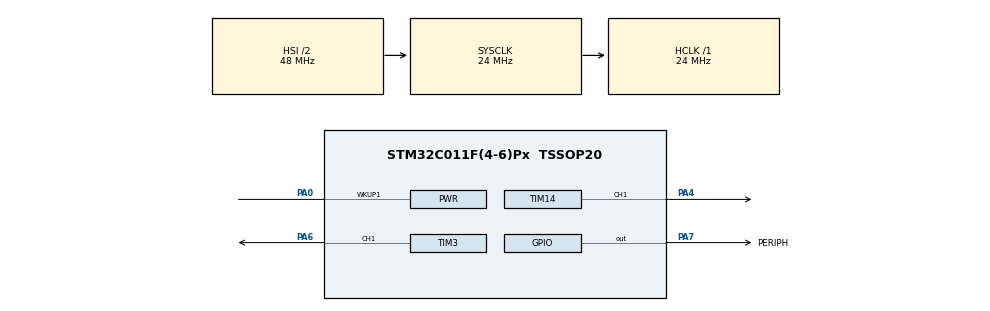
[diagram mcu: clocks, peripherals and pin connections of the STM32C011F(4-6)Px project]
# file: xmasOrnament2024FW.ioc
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Dma.Request0=TIM3_CH1
Dma.TIM3_CH1.0.Direction=DMA_MEMORY_TO_PERIPH
Dma.TIM3_CH1.0.EventEnable=DISABLE
Dma.TIM3_CH1.0.Instance=DMA1_Channel1
Dma.TIM3_CH1.0.MemDataAlignment=DMA_MDATAALIGN_HALFWORD
Dma.TIM3_CH1.0.MemInc=DMA_MINC_ENABLE
Dma.TIM3_CH1.0.Mode=DMA_NORMAL
Dma.TIM3_CH1.0.PeriphDataAlignment=DMA_PDATAALIGN_HALFWORD
Dma.TIM3_CH1.0.PeriphInc=DMA_PINC_DISABLE
Dma.TIM3_CH1.0.Polarity=HAL_DMAMUX_REQ_GEN_RISING
Dma.TIM3_CH1.0.Priority=DMA_PRIORITY_VERY_HIGH
Dma.TIM3_CH1.0.RequestNumber=1
Dma.TIM3_CH1.0.SignalID=NONE
Dma.TIM3_CH1.0.SyncEnable=DISABLE
Dma.TIM3_CH1.0.SyncPolarity=HAL_DMAMUX_SYNC_NO_EVENT
Dma.TIM3_CH1.0.SyncRequestNumber=1
Dma.TIM3_CH1.0.SyncSignalID=NONE
Mcu.Family=STM32C0
Mcu.Name=STM32C011F(4-6)Px
Mcu.Package=TSSOP20
NVIC.DMA1_Channel1_IRQn=true\:0\:0\:false\:false\:true\:false\:true\:true
PA0.Mode=WakeUp1
PA0.Signal=PWR_WKUP1
PA13.Mode=Serial_Wire
PA13.Signal=DEBUG_SWDIO
PA14-BOOT0.Mode=Serial_Wire
PA14-BOOT0.Signal=DEBUG_SWCLK
PA4.Signal=S_TIM14_CH1
PA6.GPIO_Speed=GPIO_SPEED_FREQ_VERY_HIGH
PA6.Signal=S_TIM3_CH1
PA7.GPIO_Label=PERIPH
PA7.GPIO_ModeDefaultOutputPP=GPIO_MODE_OUTPUT_OD
PA7.GPIO_PuPd=GPIO_PULLUP
PA7.PinState=GPIO_PIN_SET
PA7.Signal=GPIO_Output
ProjectManager.HeapSize=0x200
ProjectManager.StackSize=0x400
ProjectManager.TargetToolchain=STM32CubeIDE
RCC.ADCFreq_Value=24000000
RCC.AHBFreq_Value=24000000
RCC.CortexFreq_Value=24000000
RCC.EXTERNAL_CLOCK_VALUE=12288000
RCC.HCLKFreq_Value=24000000
RCC.HSE_VALUE=8000000
RCC.HSISYSCLKDivider=RCC_HSI_DIV2
RCC.HSI_VALUE=48000000
RCC.LSE_VALUE=32768
RCC.SYSCLKFreq_VALUE=24000000
SH.S_TIM14_CH1.0=TIM14_CH1,PWM Generation1 CH1
SH.S_TIM3_CH1.0=TIM3_CH1,PWM Generation1 CH1
TIM14.Channel=TIM_CHANNEL_1
TIM14.Period=100
TIM14.Prescaler=1200
TIM3.Channel-PWM\ Generation1\ CH1=TIM_CHANNEL_1
TIM3.Period=9
TIM3.Prescaler=2
VP_TIM14_VS_ClockSourceINT.Mode=Enable_Timer
VP_TIM3_VS_ClockSourceINT.Mode=Internal
board=custom

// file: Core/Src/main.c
/* USER CODE BEGIN Header */
/**
  ******************************************************************************
  * @file           : main.c
  * @brief          : Main program body
  ******************************************************************************
  * @attention
  *
  * Copyright (c) 2024 STMicroelectronics.
  * All rights reserved.
  *
  * This software is licensed under terms that can be found in the LICENSE file
  * in the root directory of this software component.
  * If no LICENSE file comes with this software, it is provided AS-IS.
  *
  ******************************************************************************
  */
/* USER CODE END Header */
#include "main.h"

/* USER CODE BEGIN Includes */
#include "WS2812.h"
#include "Buzzer.h"
/* USER CODE END Includes */

TIM_HandleTypeDef htim3;
TIM_HandleTypeDef htim14;
DMA_HandleTypeDef hdma_tim3_ch1;

void SystemClock_Config(void);
static void MX_GPIO_Init(void);
static void MX_DMA_Init(void);
static void MX_TIM3_Init(void);
static void MX_TIM14_Init(void);
/* USER CODE BEGIN PFP */
void tone(TIM_HandleTypeDef *_htim, uint32_t _freq, uint32_t _durMs);
/* USER CODE END PFP */

int main(void)
{

  /* MCU Configuration--------------------------------------------------------*/

  /* Reset of all peripherals, Initializes the Flash interface and the Systick. */
  HAL_Init();

  /* Configure the system clock */
  SystemClock_Config();

  /* Initialize all configured peripherals */
  MX_GPIO_Init();
  MX_DMA_Init();
  MX_TIM3_Init();
  MX_TIM14_Init();
  /* USER CODE BEGIN 2 */

  HAL_GPIO_WritePin(PERIPH_GPIO_Port, PERIPH_Pin, GPIO_PIN_RESET);
  HAL_Delay(100ULL);

  buzzer_begin(&htim14);

  if (!ws2812_begin(&htim3, &hdma_tim3_ch1, TIM_CHANNEL_1, 12, 2, 9, 6, 3))
  {
	  while(1);
  }
  for (int i = 0; i < 12; i++)
  {
	  uint32_t step = 65535 / 12;
	  ws2812_setPixelColor(i, 0);
	  ws2812_setPixelColor(i, ws2812_hsv(step * i, 255, 32));

  }
  ws2812_show();

  static const uint16_t melody1Notes[] = {968, 1620, 1447, 1287, 968, 1620, 1445, 1287, 1081, 1706, 1620, 1445, 1219, 1915, 1709, 1447, 1618, 968, 1620, 1445, 1288, 968, 1620, 1445, 1287, 1081, 1709, 1618, 1445, 1919, 2188, 1919, 1709, 1447, 1287, 1620, 1919, 1287, 1445, 1620, 1709, 1618, 1447, 1620, 1445, 1915, 1620, 1915, 1287, 1445, 1618, 1709, 1620, 1915, 1709, 1447, 1287};
  static const uint16_t melody1Durations[] = {216, 218, 217, 219, 1088, 217, 217, 219, 1088, 217, 218, 217, 871, 435, 217, 218, 871, 217, 217, 218, 217, 1089, 217, 218, 217, 1089, 217, 217, 218, 871, 217, 218, 217, 218, 871, 1960, 218, 217, 218, 871, 1089, 871, 435, 217, 436, 434, 1960, 218, 218, 217, 871, 1089, 653, 435, 217, 218, 957};
  int melodyMaxIndex = sizeof(melody1Notes) / sizeof(uint16_t);

  HAL_Delay(8000ULL);
  for (int i = 0; i < 12; i++)
  {
	  ws2812_setPixelColor(i, 0);
  }
  HAL_GPIO_WritePin(PERIPH_GPIO_Port, PERIPH_Pin, GPIO_PIN_SET);

  HAL_SuspendTick();
  HAL_TIM_PWM_DeInit(&htim14);
  HAL_TIM_PWM_DeInit(&htim3);

  HAL_PWR_DisableWakeUpPin(PWR_WAKEUP_PIN1);
  HAL_PWR_EnableWakeUpPin(PWR_WAKEUP_PIN1_LOW);
  __HAL_PWR_CLEAR_FLAG(PWR_FLAG_WUF);

  HAL_PWREx_EnterSHUTDOWNMode();

  /* USER CODE END 2 */

  /* Infinite loop */
  while (1)
  {

    /* USER CODE BEGIN 3 */
	  //HAL_TIM_PWM_Start(&htim1, TIM_CHANNEL_1);
	  //htim1.Instance->CCR1 = 10;
	  //HAL_Delay(100ULL);
	  //htim1.Instance->CCR1 = 0;
	  //HAL_TIM_PWM_Stop(&htim1, TIM_CHANNEL_1);
	  //HAL_Delay(1000ULL);
	  for (int i = 0; i < melodyMaxIndex; i++)
	  {
		  //tone(&htim14, melody1Notes[i], melody1Durations[i]);
		  buzzer_toneDuration(melody1Notes[i], melody1Durations[i], TIM_CHANNEL_1);
	  }
  }
  /* USER CODE END 3 */
}

void SystemClock_Config(void)
{
  RCC_OscInitTypeDef RCC_OscInitStruct = {0};
  RCC_ClkInitTypeDef RCC_ClkInitStruct = {0};

  __HAL_FLASH_SET_LATENCY(FLASH_LATENCY_0);

  /** Initializes the RCC Oscillators according to the specified parameters
  * in the RCC_OscInitTypeDef structure.
  */
  RCC_OscInitStruct.OscillatorType = RCC_OSCILLATORTYPE_HSI;
  RCC_OscInitStruct.HSIState = RCC_HSI_ON;
  RCC_OscInitStruct.HSIDiv = RCC_HSI_DIV2;
  RCC_OscInitStruct.HSICalibrationValue = RCC_HSICALIBRATION_DEFAULT;
  if (HAL_RCC_OscConfig(&RCC_OscInitStruct) != HAL_OK)
  {
    Error_Handler();
  }

  /** Initializes the CPU, AHB and APB buses clocks
  */
  RCC_ClkInitStruct.ClockType = RCC_CLOCKTYPE_HCLK|RCC_CLOCKTYPE_SYSCLK
                              |RCC_CLOCKTYPE_PCLK1;
  RCC_ClkInitStruct.SYSCLKSource = RCC_SYSCLKSOURCE_HSI;
  RCC_ClkInitStruct.SYSCLKDivider = RCC_SYSCLK_DIV1;
  RCC_ClkInitStruct.AHBCLKDivider = RCC_HCLK_DIV1;
  RCC_ClkInitStruct.APB1CLKDivider = RCC_APB1_DIV1;

  if (HAL_RCC_ClockConfig(&RCC_ClkInitStruct, FLASH_LATENCY_0) != HAL_OK)
  {
    Error_Handler();
  }
}

static void MX_TIM3_Init(void)
{

  TIM_ClockConfigTypeDef sClockSourceConfig = {0};
  TIM_MasterConfigTypeDef sMasterConfig = {0};
  TIM_OC_InitTypeDef sConfigOC = {0};

  htim3.Instance = TIM3;
  htim3.Init.Prescaler = 2;
  htim3.Init.CounterMode = TIM_COUNTERMODE_UP;
  htim3.Init.Period = 9;
  htim3.Init.ClockDivision = TIM_CLOCKDIVISION_DIV1;
  htim3.Init.AutoReloadPreload = TIM_AUTORELOAD_PRELOAD_DISABLE;
  if (HAL_TIM_Base_Init(&htim3) != HAL_OK)
  {
    Error_Handler();
  }
  sClockSourceConfig.ClockSource = TIM_CLOCKSOURCE_INTERNAL;
  if (HAL_TIM_ConfigClockSource(&htim3, &sClockSourceConfig) != HAL_OK)
  {
    Error_Handler();
  }
  if (HAL_TIM_PWM_Init(&htim3) != HAL_OK)
  {
    Error_Handler();
  }
  sMasterConfig.MasterOutputTrigger = TIM_TRGO_RESET;
  sMasterConfig.MasterSlaveMode = TIM_MASTERSLAVEMODE_DISABLE;
  if (HAL_TIMEx_MasterConfigSynchronization(&htim3, &sMasterConfig) != HAL_OK)
  {
    Error_Handler();
  }
  sConfigOC.OCMode = TIM_OCMODE_PWM1;
  sConfigOC.Pulse = 0;
  sConfigOC.OCPolarity = TIM_OCPOLARITY_HIGH;
  sConfigOC.OCFastMode = TIM_OCFAST_DISABLE;
  if (HAL_TIM_PWM_ConfigChannel(&htim3, &sConfigOC, TIM_CHANNEL_1) != HAL_OK)
  {
    Error_Handler();
  }
  HAL_TIM_MspPostInit(&htim3);

}

static void MX_TIM14_Init(void)
{

  TIM_OC_InitTypeDef sConfigOC = {0};

  htim14.Instance = TIM14;
  htim14.Init.Prescaler = 1200;
  htim14.Init.CounterMode = TIM_COUNTERMODE_UP;
  htim14.Init.Period = 100;
  htim14.Init.ClockDivision = TIM_CLOCKDIVISION_DIV1;
  htim14.Init.AutoReloadPreload = TIM_AUTORELOAD_PRELOAD_DISABLE;
  if (HAL_TIM_Base_Init(&htim14) != HAL_OK)
  {
    Error_Handler();
  }
  if (HAL_TIM_PWM_Init(&htim14) != HAL_OK)
  {
    Error_Handler();
  }
  sConfigOC.OCMode = TIM_OCMODE_PWM1;
  sConfigOC.Pulse = 0;
  sConfigOC.OCPolarity = TIM_OCPOLARITY_HIGH;
  sConfigOC.OCFastMode = TIM_OCFAST_DISABLE;
  if (HAL_TIM_PWM_ConfigChannel(&htim14, &sConfigOC, TIM_CHANNEL_1) != HAL_OK)
  {
    Error_Handler();
  }
  HAL_TIM_MspPostInit(&htim14);

}

static void MX_DMA_Init(void)
{

  /* DMA controller clock enable */
  __HAL_RCC_DMA1_CLK_ENABLE();

  /* DMA interrupt init */
  /* DMA1_Channel1_IRQn interrupt configuration */
  HAL_NVIC_SetPriority(DMA1_Channel1_IRQn, 0, 0);
  HAL_NVIC_EnableIRQ(DMA1_Channel1_IRQn);

}

static void MX_GPIO_Init(void)
{
  GPIO_InitTypeDef GPIO_InitStruct = {0};

  /* GPIO Ports Clock Enable */
  __HAL_RCC_GPIOA_CLK_ENABLE();

  /*Configure GPIO pin Output Level */
  HAL_GPIO_WritePin(PERIPH_GPIO_Port, PERIPH_Pin, GPIO_PIN_SET);

  /*Configure GPIO pin : PERIPH_Pin */
  GPIO_InitStruct.Pin = PERIPH_Pin;
  GPIO_InitStruct.Mode = GPIO_MODE_OUTPUT_OD;
  GPIO_InitStruct.Pull = GPIO_PULLUP;
  GPIO_InitStruct.Speed = GPIO_SPEED_FREQ_LOW;
  HAL_GPIO_Init(PERIPH_GPIO_Port, &GPIO_InitStruct);

}

/* USER CODE BEGIN 4 */
/*
void tone(TIM_HandleTypeDef *_htim, uint32_t _freq, uint32_t _durMs)
{
	// Calculate the prescaler.
	uint32_t _prescaler = (HAL_RCC_GetSysClockFreq() / (50 * _freq)) - 1;

	// Check if the prescaler is not overflowed.
	if (_prescaler > 65535) _prescaler = 65535;

	// Now calculate the period.
	uint32_t _period = ((HAL_RCC_GetSysClockFreq() / (_prescaler)) / _freq) - 1;

	// Set duty cycle to 50%.
	uint32_t _compare = _period / 2;

	// Set the duty to 0%.
	_htim->Instance->CCR1 = 0;

	// Stop the timer.
	HAL_TIM_PWM_Stop(_htim, TIM_CHANNEL_1);

	// Set new prescaler value.
	__HAL_TIM_SET_PRESCALER(_htim, _prescaler);

	// Set the new auto preload value.
	__HAL_TIM_SET_AUTORELOAD(_htim, _period);

	// Set new compare value.
	_htim->Instance->CCR1 = _compare;

	// Start the PWM.
	HAL_TIM_PWM_Start(_htim, TIM_CHANNEL_1);

	// Wait defined amount of time.
	HAL_Delay(_durMs);

	// Stop the PWM.
	HAL_TIM_PWM_Stop(_htim, TIM_CHANNEL_1);
}
*/
/* USER CODE END 4 */

void Error_Handler(void)
{
  __disable_irq();
  while (1)
  {
  }
}
